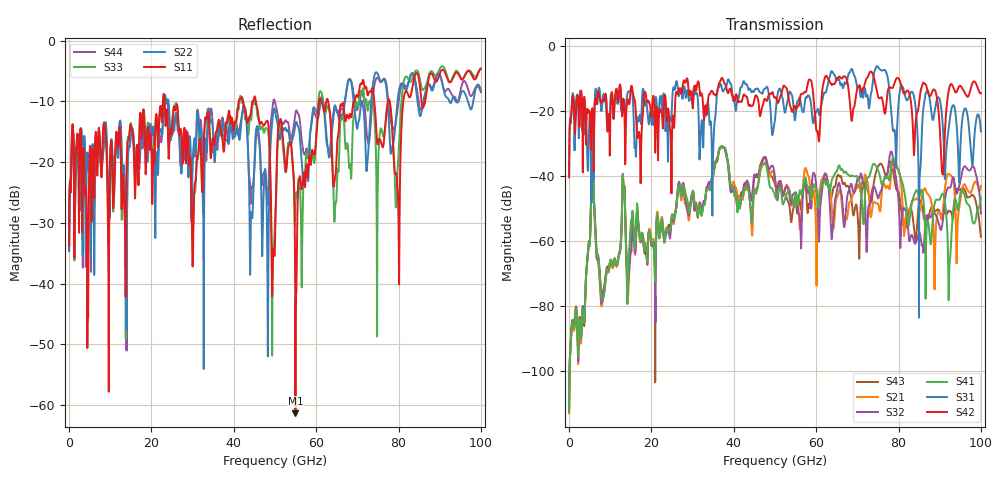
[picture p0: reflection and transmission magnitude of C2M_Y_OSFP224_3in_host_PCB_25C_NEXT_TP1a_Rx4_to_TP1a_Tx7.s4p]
# GHz S RI R 45
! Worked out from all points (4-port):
!   4000 points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, 25 MHz to 100 GHz, reference 45 ohm
!   strongest paths, dB at 25 MHz, 25.02 GHz, 50.02 GHz, 75.03 GHz, 100 GHz:
!     S42: -40.4, -26.7, -15.9, -15.6, -14.6
!     S31: -39.6, -17.4, -22.6, -6.5, -26.3
!     S41: -112.3, -52.2, -46.2, -38.3, -46.6
!     S32: -112.0, -52.7, -40.6, -46.8, -51.6
!     S21: -112.9, -52.6, -41.4, -48.6, -43.0
!     S43: -111.6, -51.8, -42.6, -37.1, -58.7
!   lowest |S11| = -61.3 dB at 54.98 GHz (marker M1), VSWR 1.00, Z = 45 + j0.0637 ohm
!   |S11| at or under -10 dB: start of sweep to 22.8 GHz; 23.2 GHz to 41.21 GHz (18.01 GHz wide, 55.9 % of centre); 45.36 GHz to 60.7 GHz (15.34 GHz wide, 28.9 % of centre) (the widest 3 of 9)
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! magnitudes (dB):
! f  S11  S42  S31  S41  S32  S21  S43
! 25 MHz  -33.8  -40.4  -39.6  -112.3  -112.0  -112.9  -111.6
! 5.75 GHz  -18.5  -19.8  -20.6  -37.4  -37.5  -37.6  -37.3
! 8.1 GHz  -18.1  -16.8  -17.1  -77.9  -77.9  -78.9  -75.6
! 13.22 GHz  -23.5  -16.3  -17.1  -43.3  -43.4  -43.5  -43.2
! 37 GHz  -15.0  -10.1  -12.4  -31.1  -31.1  -31.2  -30.9
! 54.98 GHz  -61.3  -19.0  -21.9  -46.0  -45.0  -45.9  -47.5
! 100 GHz  -4.7  -14.6  -26.3  -46.6  -51.6  -43.0  -58.7
